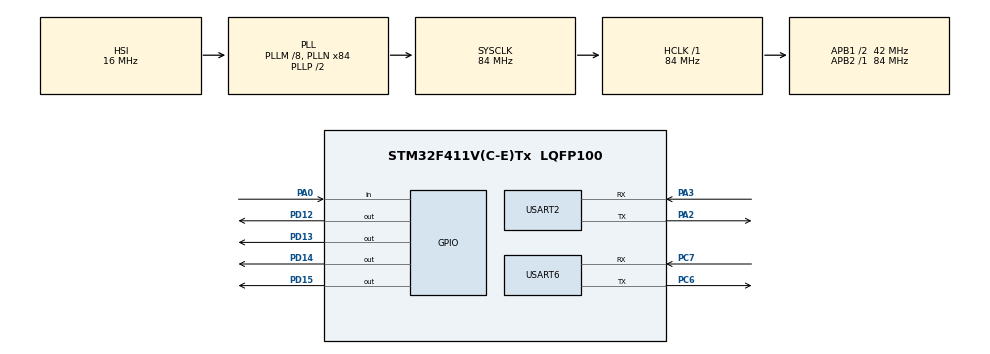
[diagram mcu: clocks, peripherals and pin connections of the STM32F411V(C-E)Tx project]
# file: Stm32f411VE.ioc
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Dma.Request0=USART2_RX
Dma.USART2_RX.0.Direction=DMA_PERIPH_TO_MEMORY
Dma.USART2_RX.0.FIFOMode=DMA_FIFOMODE_DISABLE
Dma.USART2_RX.0.Instance=DMA1_Stream5
Dma.USART2_RX.0.MemDataAlignment=DMA_MDATAALIGN_BYTE
Dma.USART2_RX.0.MemInc=DMA_MINC_ENABLE
Dma.USART2_RX.0.Mode=DMA_CIRCULAR
Dma.USART2_RX.0.PeriphDataAlignment=DMA_PDATAALIGN_BYTE
Dma.USART2_RX.0.PeriphInc=DMA_PINC_DISABLE
Dma.USART2_RX.0.Priority=DMA_PRIORITY_LOW
Mcu.Family=STM32F4
Mcu.Name=STM32F411V(C-E)Tx
Mcu.Package=LQFP100
NVIC.DMA1_Stream5_IRQn=true\:0\:0\:false\:false\:true\:false\:true
NVIC.PriorityGroup=NVIC_PRIORITYGROUP_4
PA0-WKUP.Signal=GPIO_Input
PA2.Mode=Asynchronous
PA2.Signal=USART2_TX
PA3.Mode=Asynchronous
PA3.Signal=USART2_RX
PC6.Mode=Asynchronous
PC6.Signal=USART6_TX
PC7.Mode=Asynchronous
PC7.Signal=USART6_RX
PD12.Signal=GPIO_Output
PD13.Signal=GPIO_Output
PD14.Signal=GPIO_Output
PD15.Signal=GPIO_Output
ProjectManager.HeapSize=0x200
ProjectManager.StackSize=0x400
ProjectManager.TargetToolchain=MDK-ARM V5
RCC.48MHZClocksFreq_Value=42000000
RCC.AHBFreq_Value=84000000
RCC.APB1CLKDivider=RCC_HCLK_DIV2
RCC.APB1Freq_Value=42000000
RCC.APB1TimFreq_Value=84000000
RCC.APB2Freq_Value=84000000
RCC.APB2TimFreq_Value=84000000
RCC.CortexFreq_Value=84000000
RCC.HCLKFreq_Value=84000000
RCC.HSE_VALUE=25000000
RCC.HSI_VALUE=16000000
RCC.LSE_VALUE=32768
RCC.PLLM=8
RCC.PLLN=84
RCC.SYSCLKFreq_VALUE=84000000
RCC.SYSCLKSource=RCC_SYSCLKSOURCE_PLLCLK
RCC.VCOOutputFreq_Value=168000000
USART2.VirtualMode=VM_ASYNC
USART6.VirtualMode=VM_ASYNC
VP_CRC_VS_CRC.Mode=CRC_Activate
board=custom

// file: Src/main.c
/* USER CODE BEGIN Header */
/**
  ******************************************************************************
  * @file           : main.c
  * @brief          : Main program body
  ******************************************************************************
  * @attention
  *
  * <h2><center>&copy; Copyright (c) 2019 STMicroelectronics.
  * All rights reserved.</center></h2>
  *
  * This software component is licensed by ST under BSD 3-Clause license,
  * the "License"; You may not use this file except in compliance with the
  * License. You may obtain a copy of the License at:
  *                        opensource.org/licenses/BSD-3-Clause
  *
  ******************************************************************************
  */
/* USER CODE END Header */

#include "main.h"

/* USER CODE BEGIN Includes */
#include <stdarg.h>
#include <stdio.h>
#include <string.h>
#include <stdlib.h>
/* USER CODE END Includes */

/* USER CODE BEGIN PD */
#define BL_DEBEG_MSG_EN
/* USER CODE END PD */

/* USER CODE BEGIN PM */
#define C_UART		&huart2
#define D_UART		&huart6
#define MAX_RX_BUFFER	64

/* USER CODE END PM */

CRC_HandleTypeDef hcrc;

UART_HandleTypeDef huart2;
UART_HandleTypeDef huart6;
DMA_HandleTypeDef hdma_usart2_rx;

void SystemClock_Config(void);
static void MX_GPIO_Init(void);
static void MX_DMA_Init(void);
static void MX_CRC_Init(void);
static void MX_USART2_UART_Init(void);
static void MX_USART6_UART_Init(void);
/* USER CODE BEGIN PFP */
static void print_debug_msg(char *format,...);

/* USER CODE END PFP */

/* USER CODE BEGIN 0 */
 char someData[] = "Hello from bootloader\r\n";
 volatile uint32_t addr = 0x08008000;
 uint8_t	bl_rx_buffer[MAX_RX_BUFFER] = {0};
 uint8_t length = 0;
 uint32_t update_flash_base_address = 0;
 uint32_t base_offset_address = 0;
 SignatureTypeDef signature_sector;
 //Flag for extracting of vector from hex string to update the sector address
 uint32_t flag = 1;
/* USER CODE END 0 */

int main(void)
{

  /* MCU Configuration--------------------------------------------------------*/

  /* Reset of all peripherals, Initializes the Flash interface and the Systick. */
  HAL_Init();

  /* Configure the system clock */
  SystemClock_Config();

  /* Initialize all configured peripherals */
  MX_GPIO_Init();
  MX_DMA_Init();
  MX_CRC_Init();
  MX_USART2_UART_Init();
  MX_USART6_UART_Init();
  /* USER CODE BEGIN 2 */

	//Read the flash structure from boot sector address
	signature_sector = *(SignatureTypeDef *)(uint32_t *)SIGNATURE_BOOT_ADDRESS;

  /* USER CODE END 2 */

  /* Infinite loop */
  /* USER CODE BEGIN WHILE */
	if(HAL_GPIO_ReadPin(GPIOA,GPIO_PIN_0) || signature_sector.updateAvailable)
	//if(HAL_GPIO_ReadPin(GPIOA,GPIO_PIN_0))
	{
		print_debug_msg("Bootloader Mode\r\n");
		bootloader_uart();
	}
	else
	{
		print_debug_msg("Executing user app\r\n");
		jump_to_user_app();
	}

  while (1)
  {
    /* USER CODE END WHILE */

  }
}

void SystemClock_Config(void)
{
  RCC_OscInitTypeDef RCC_OscInitStruct = {0};
  RCC_ClkInitTypeDef RCC_ClkInitStruct = {0};

  /** Configure the main internal regulator output voltage
  */
  __HAL_RCC_PWR_CLK_ENABLE();
  __HAL_PWR_VOLTAGESCALING_CONFIG(PWR_REGULATOR_VOLTAGE_SCALE1);
  /** Initializes the CPU, AHB and APB busses clocks
  */
  RCC_OscInitStruct.OscillatorType = RCC_OSCILLATORTYPE_HSI;
  RCC_OscInitStruct.HSIState = RCC_HSI_ON;
  RCC_OscInitStruct.HSICalibrationValue = RCC_HSICALIBRATION_DEFAULT;
  RCC_OscInitStruct.PLL.PLLState = RCC_PLL_ON;
  RCC_OscInitStruct.PLL.PLLSource = RCC_PLLSOURCE_HSI;
  RCC_OscInitStruct.PLL.PLLM = 8;
  RCC_OscInitStruct.PLL.PLLN = 84;
  RCC_OscInitStruct.PLL.PLLP = RCC_PLLP_DIV2;
  RCC_OscInitStruct.PLL.PLLQ = 4;
  if (HAL_RCC_OscConfig(&RCC_OscInitStruct) != HAL_OK)
  {
    Error_Handler();
  }
  /** Initializes the CPU, AHB and APB busses clocks
  */
  RCC_ClkInitStruct.ClockType = RCC_CLOCKTYPE_HCLK|RCC_CLOCKTYPE_SYSCLK
                              |RCC_CLOCKTYPE_PCLK1|RCC_CLOCKTYPE_PCLK2;
  RCC_ClkInitStruct.SYSCLKSource = RCC_SYSCLKSOURCE_PLLCLK;
  RCC_ClkInitStruct.AHBCLKDivider = RCC_SYSCLK_DIV1;
  RCC_ClkInitStruct.APB1CLKDivider = RCC_HCLK_DIV2;
  RCC_ClkInitStruct.APB2CLKDivider = RCC_HCLK_DIV1;

  if (HAL_RCC_ClockConfig(&RCC_ClkInitStruct, FLASH_LATENCY_2) != HAL_OK)
  {
    Error_Handler();
  }
}

static void MX_CRC_Init(void)
{

  hcrc.Instance = CRC;
  if (HAL_CRC_Init(&hcrc) != HAL_OK)
  {
    Error_Handler();
  }

}

static void MX_USART2_UART_Init(void)
{

  huart2.Instance = USART2;
  huart2.Init.BaudRate = 115200;
  huart2.Init.WordLength = UART_WORDLENGTH_8B;
  huart2.Init.StopBits = UART_STOPBITS_1;
  huart2.Init.Parity = UART_PARITY_NONE;
  huart2.Init.Mode = UART_MODE_TX_RX;
  huart2.Init.HwFlowCtl = UART_HWCONTROL_NONE;
  huart2.Init.OverSampling = UART_OVERSAMPLING_16;
  if (HAL_UART_Init(&huart2) != HAL_OK)
  {
    Error_Handler();
  }

}

static void MX_USART6_UART_Init(void)
{

  huart6.Instance = USART6;
  huart6.Init.BaudRate = 115200;
  huart6.Init.WordLength = UART_WORDLENGTH_8B;
  huart6.Init.StopBits = UART_STOPBITS_1;
  huart6.Init.Parity = UART_PARITY_NONE;
  huart6.Init.Mode = UART_MODE_TX_RX;
  huart6.Init.HwFlowCtl = UART_HWCONTROL_NONE;
  huart6.Init.OverSampling = UART_OVERSAMPLING_16;
  if (HAL_UART_Init(&huart6) != HAL_OK)
  {
    Error_Handler();
  }

}

static void MX_DMA_Init(void)
{
  /* DMA controller clock enable */
  __HAL_RCC_DMA1_CLK_ENABLE();

  /* DMA interrupt init */
  /* DMA1_Stream5_IRQn interrupt configuration */
  HAL_NVIC_SetPriority(DMA1_Stream5_IRQn, 0, 0);
  HAL_NVIC_EnableIRQ(DMA1_Stream5_IRQn);

}

static void MX_GPIO_Init(void)
{
  GPIO_InitTypeDef GPIO_InitStruct = {0};

  /* GPIO Ports Clock Enable */
  __HAL_RCC_GPIOA_CLK_ENABLE();
  __HAL_RCC_GPIOD_CLK_ENABLE();
  __HAL_RCC_GPIOC_CLK_ENABLE();

  /*Configure GPIO pin Output Level */
  HAL_GPIO_WritePin(GPIOD, GPIO_PIN_12|GPIO_PIN_13|GPIO_PIN_14|GPIO_PIN_15, GPIO_PIN_RESET);

  /*Configure GPIO pin : PA0 */
  GPIO_InitStruct.Pin = GPIO_PIN_0;
  GPIO_InitStruct.Mode = GPIO_MODE_INPUT;
  GPIO_InitStruct.Pull = GPIO_NOPULL;
  HAL_GPIO_Init(GPIOA, &GPIO_InitStruct);

  /*Configure GPIO pins : PD12 PD13 PD14 PD15 */
  GPIO_InitStruct.Pin = GPIO_PIN_12|GPIO_PIN_13|GPIO_PIN_14|GPIO_PIN_15;
  GPIO_InitStruct.Mode = GPIO_MODE_OUTPUT_PP;
  GPIO_InitStruct.Pull = GPIO_NOPULL;
  GPIO_InitStruct.Speed = GPIO_SPEED_FREQ_LOW;
  HAL_GPIO_Init(GPIOD, &GPIO_InitStruct);

}

/* USER CODE BEGIN 4 */
static void print_debug_msg(char *format,...)
{
	#ifdef BL_DEBEG_MSG_EN
	char str[80];

	va_list args;
	va_start(args, format);
	vsprintf(str, format, args);
	HAL_UART_Transmit(D_UART,(uint8_t *)str, strlen(str),HAL_MAX_DELAY);
	va_end(args);
	#endif
}

void bootloader_uart()
{
	TypeDef_Intel_Hex flash_data;
	uint8_t status, ret;
	char checksum_str[3];

	HAL_GPIO_WritePin(GPIOD, GPIO_PIN_12 | GPIO_PIN_14,GPIO_PIN_SET);
	HAL_GPIO_WritePin(GPIOD, GPIO_PIN_13 | GPIO_PIN_15,GPIO_PIN_RESET);

	//Erase Sector address
	flash_erase_sector(signature_sector.sector_no);//Get the flash sector from User Application after auth. from Signature Structure
	//char temp[3] = {0};
	//uint16_t line_count;
	//All the booting related code will be here.
	/*Demo code only for testing*/
	//For Debugging
	HAL_UART_Transmit(C_UART,&response,1,HAL_MAX_DELAY);
	while(1)
	{
		//led status for updating
		HAL_GPIO_TogglePin(GPIOD, GPIO_PIN_12 | GPIO_PIN_14);
		HAL_GPIO_TogglePin(GPIOD, GPIO_PIN_13 | GPIO_PIN_15);
		//HAL_UART_Transmit(C_UART,(uint8_t *)someData,strlen(someData),HAL_MAX_DELAY);
		memset(bl_rx_buffer, 0, MAX_RX_BUFFER);
		//strcpy((char *)bl_rx_buffer,":1080000050040020AD810008338D0008978C0008D3");
		HAL_UART_Receive(C_UART,bl_rx_buffer,UART_REC_BLOCK_SIZE,HAL_MAX_DELAY);
		//HAL_UART_Receive_DMA(C_UART,bl_rx_buffer,MAX_RX_BUFFER

		//Line number implementation
		//memcpy(temp,&bl_rx_buffer[1],2);
    //line_count = (uint8_t)strtol(temp, NULL, 16);

		ret = parse_data_from_intel_hex(&flash_data,bl_rx_buffer);
		if(ret == 0)
		{
			status = HAL_ERROR;
		}
		else
		{
			switch(flash_data.record_type)
			{
				case EXTENDED_LINEAR_ADDR:
					{
						//Set the staring address
						update_flash_base_address = ((flash_data.data[0] << 8) + flash_data.data[1]) << 16;
						//signature_sector.update = flash_data.addr;
						status = HAL_OK;
						break;
					}
				case INTEL_HEX_DATA:
					{
						//Run only once 1st address of new firmware which provide the offset address
						//for flash starting address
						if(flag)
						{
							flag = 0;//clear
							base_offset_address = flash_data.addr;
						}
						status = write_data_into_flash(&flash_data, update_flash_base_address);
						break;
					}
				case END_OF_FILE:
					{
						signature_sector = *(SignatureTypeDef *)(uint32_t *)SIGNATURE_BOOT_ADDRESS; 	// Reading Boot status structure from flash
						signature_sector.current = update_flash_base_address + base_offset_address;
						signature_sector.updateAvailable = FALSE;									// Setting Flag of update available
						write_to_flash_word(0, &signature_sector, 5);

						// Reset MCU
						NVIC_SystemReset();

						status = HAL_OK;
						break;
					}
				default:
				{
					//Nothing to do
					break;
				}
			}
		}
//		if(flash_data.record_type == INTEL_HEX_DATA)
//		{
//			status = write_data_into_flash(&flash_data, FLASH_SECTOR_2_BASE_ADDRESS);
//		}

		//HAL_Delay(1000);
		//HAL_UART_Transmit(C_UART,(uint8_t *)flash_data.length,sizeof(flash_data.length),HAL_MAX_DELAY);
		if(status == HAL_OK)
		{
			//HAL_UART_Transmit(C_UART,&response,1,HAL_MAX_DELAY);
			sprintf(checksum_str,"%02X",flash_data.check_sum);
			checksum_str[2] = response;
			//memcpy(&checksum_str[2],&response,1);
			HAL_UART_Transmit(C_UART,(uint8_t *)checksum_str,3,HAL_MAX_DELAY);
			//HAL_UART_Transmit(C_UART,&response,1,HAL_MAX_DELAY);
		}
		else{
			//HAL_UART_Transmit(C_UART,&response,1,HAL_MAX_DELAY);
			flash_data.check_sum = ~(flash_data.check_sum);
			sprintf(checksum_str,"%02X",flash_data.check_sum);
			checksum_str[2] = response;
			HAL_UART_Transmit(C_UART,(uint8_t *)checksum_str,1,HAL_MAX_DELAY);
			//HAL_UART_Transmit(C_UART,&response,1,HAL_MAX_DELAY);
		}
//		HAL_GPIO_TogglePin(GPIOD, GPIO_PIN_12 | GPIO_PIN_13 | GPIO_PIN_14 | GPIO_PIN_15);
//		uint32_t currentTick = HAL_GetTick();
//		print_debug_msg("Curren Tick: %d\r\n",currentTick);
//    while(HAL_GetTick() <= (currentTick + 500));
	}
}

uint8_t write_data_into_flash(TypeDef_Intel_Hex *handle, uint32_t mem_base_addr)
{
	HAL_FLASH_Unlock();
	uint8_t status;
	//Set starting memory address
	//handle->addr = handle->addr + mem_base_addr;
	mem_base_addr = mem_base_addr + handle->addr;

	for(uint32_t i = 0 ; i < handle->length ; i++)
	{
		//writing into the flash byte by byte
		status = HAL_FLASH_Program(FLASH_TYPEPROGRAM_BYTE,mem_base_addr + i,handle->data[i] );

		//Error handling
		if(status != HAL_OK)
		{
			HAL_FLASH_Lock();
			return HAL_ERROR;
		}
	}
  HAL_FLASH_Lock();
	return status;
}

void jump_to_user_app()
{
	//Ptr to hold the address of reset handler
	void (*user_app_reset_handler)(void);
	print_debug_msg("BL: Jump to USER APP\r\n");

	//Read the MSP value from the BASE address of Flash
	//uint32_t msp_address = *(volatile uint32_t *)FLASH_SECTOR_2_BASE_ADDRESS;
	uint32_t msp_address = *(volatile uint32_t *)signature_sector.current;
	print_debug_msg("BL: APP MSP Address: %#x",msp_address);
	__set_MSP(msp_address);

	 //uint32_t msp_value = *((volatile uint32_t*)(FLASH_SECTOR_2_BASE_ADDRESS));
   //print_debug_msg("BL_DEBUG_MSG:MSP value : %#x\r\n",addr);
	 //This function comes from CMSIS.
   //__set_MSP(*(uint32_t *)addr);

	//Fetching of address of reset handler from Location
	//FLASH_SECTOR_2_BASE_ADDRESS + 4
	//Then Jump to USER APP
	//uint32_t resethanlder_address = *(volatile uint32_t*)(FLASH_SECTOR_2_BASE_ADDRESS + 4);
	uint32_t resethanlder_address = *(volatile uint32_t*)(signature_sector.current + 4);
	print_debug_msg("BL: APP Reset Handler Address:%#x \r\n",resethanlder_address);
	user_app_reset_handler = (void(*)(void))resethanlder_address;
	//app_reset_handler();

	//app_reset_handler = (void (*)(void)) (*((uint32_t *)(addr + 4)));
	user_app_reset_handler();
}

uint8_t parse_data_from_intel_hex(TypeDef_Intel_Hex *handle, uint8_t *rx_buffer)
{
    char temp[3] = {0};
    //Defines whether is Address or flash_data
    //uint8_t hex_type = 0;

    //Length of Intel Hex
    memcpy(temp,&rx_buffer[1],2);
    handle->length = (uint8_t)strtol(temp, NULL, 16);

    //Address from Intel Hex
    memset(temp,0,3);
    memcpy(temp,&rx_buffer[3],4);
    handle->addr = (uint32_t)strtol(temp, NULL, 16);

    //Record type
    memset(temp,0,3);
    memcpy(temp,&rx_buffer[7],2);
    handle->record_type = (uint8_t)strtol(temp, NULL, 16);

    //data type
    uint8_t j = 9;
    for (int i = 0; i < handle->length; i++) {
        memset(temp,0,3);
        memcpy(temp,&rx_buffer[j],2);
        handle->data[i] = (uint8_t)strtol(temp, NULL, 16);
        j+=2;
    }

    //check sum
    memset(temp,0,3);
    memcpy(temp,&rx_buffer[j],2);
    handle->check_sum = (uint8_t)strtol(temp, NULL, 16);

    //calculate check sum
    uint8_t check_sum_cal = 0;
    check_sum_cal = handle->length;// + handle->addr + handle->record_type;
    check_sum_cal = check_sum_cal + (handle->addr >> 8);
    check_sum_cal = check_sum_cal + (handle->addr & 0x00ff);
    check_sum_cal = check_sum_cal + handle->record_type;
    for (int i = 0; i < handle->length; i++) {
      check_sum_cal = check_sum_cal + handle->data[i];
    }
    check_sum_cal = 0x01 + ~(check_sum_cal);
    //printf("%s\n", (handle->check_sum == check_sum_cal)? "MATCH":"FAILED");
    return ((handle->check_sum == check_sum_cal)? 1 : 0);
}

void flash_erase_sector(uint32_t sector_no)
{
	HAL_FLASH_Unlock();
	FLASH_Erase_Sector(sector_no, FLASH_VOLTAGE_RANGE_3);
	HAL_FLASH_Lock();
}

void write_to_flash_word(uint32_t offSet, void *wrBuf, uint32_t Nsize)
{
	uint32_t flashAddress = SIGNATURE_BOOT_ADDRESS + offSet;

	//Erase sector before write
	flash_erase_sector(SIGNATURE_SECTOR_NO);

	//Unlock Flash
	HAL_FLASH_Unlock();
	//HAL_FLASH_Program(FLASH_TYPEPROGRAM_WORD, flashAddress + 8, 0xFFFFFFFF);
	//Write to Flash
	for(uint32_t i=0; i<Nsize; i++)
	{
		//flag = ((uint32_t *)wrBuf)[i];
		HAL_FLASH_Program(FLASH_TYPEPROGRAM_WORD, flashAddress , ((uint32_t *)wrBuf)[i]);
		flashAddress+=4;
	}

	//Lock the Flash space
	HAL_FLASH_Lock();
}

/* USER CODE END 4 */

void Error_Handler(void)
{
}

/************************ (C) COPYRIGHT STMicroelectronics *****END OF FILE****/
